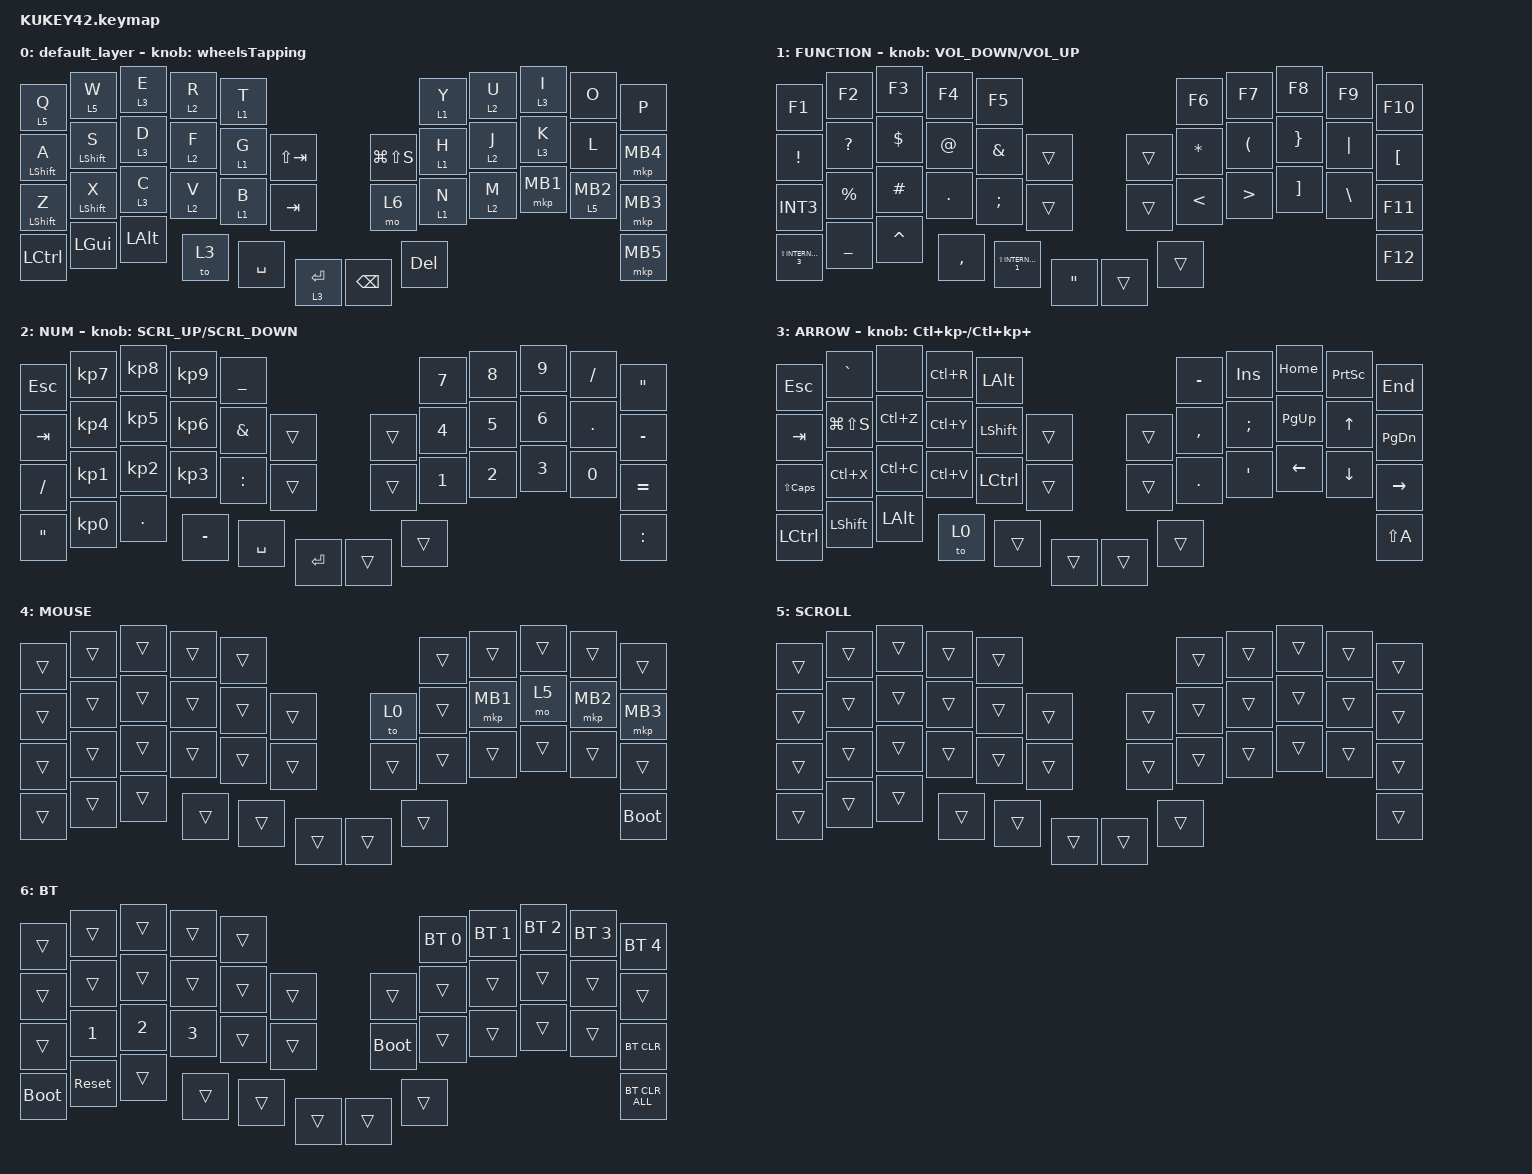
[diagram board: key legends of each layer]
#define ZMK_POINTING_DEFAULT_SCRL_VAL 80

#include <behaviors.dtsi>
#include <dt-bindings/zmk/bt.h>
#include <dt-bindings/zmk/keys.h>
#include <dt-bindings/zmk/pointing.h>

&mt {
    flavor = "balanced";
    quick-tap-ms = <0>;
    tapping-term-ms = <300>;
};

&trackball { scroll-layers = <2 3 5>; };

/ {
    combos { compatible = "zmk,combos"; };

    macros {
        to_layer_0: to_layer_0 {
            compatible = "zmk,behavior-macro-one-param";
            #binding-cells = <1>;
            bindings = <&to 0 &macro_param_1to1 &kp MACRO_PLACEHOLDER>;
            label = "TO_LAYER_0";
        };
    };

    behaviors {
        lt_to_layer_0: lt_to_layer_0 {
            compatible = "zmk,behavior-hold-tap";
            label = "LAYER_TAP_TO_0";
            bindings = <&mo>, <&to_layer_0>;

            #binding-cells = <2>;
            tapping-term-ms = <200>;
        };

        tapdance_kana: tapdance_kana {
            compatible = "zmk,behavior-tap-dance";
            label = "TAPDANCE_KANA";
            #binding-cells = <0>;
            bindings = <&kp INT2>, <&kp LANGUAGE_2>, <&sl 1>;

            tapping-term-ms = <400>;
        };

        WheelScroll: WheelScroll {
            compatible = "zmk,behavior-sensor-rotate-var";
            label = "WHEELSCROLL";
            #sensor-binding-cells = <2>;
            bindings = <&msc>, <&msc>;

            tap-ms = <20>;
        };

        lm: lm {
            compatible = "zmk,behavior-hold-tap";
            label = "LM";
            #binding-cells = <2>;
            bindings = <&mo>, <&mkp>;

            tapping-term-ms = <200>;
        };

        wheelsTapping: wheelsTapping {
            compatible = "zmk,behavior-sensor-rotate";
            label = "WHEELSTAPPING";
            #sensor-binding-cells = <0>;
            bindings = <&kp TAB>, <&kp LS(TAB)>;
        };
    };

    keymap {
        compatible = "zmk,keymap";

        default_layer {
            bindings = <
&lt 5 Q           &lt 5 W           &lt 3 E       &lt 2 R  &lt 1 T                                    &lt 1 Y     &lt 2 U  &lt 3 I   &kp O      &kp P
&mt LEFT_SHIFT A  &mt LEFT_SHIFT S  &lt 3 D       &lt 2 F  &lt 1 G    &kp LS(TAB)      &kp LG(LS(S))  &lt 1 H     &lt 2 J  &lt 3 K   &kp L      &mkp MB4
&mt LEFT_SHIFT Z  &mt LEFT_SHIFT X  &lt 3 C       &lt 2 V  &lt 1 B    &kp TAB          &mo 6          &lt 1 N     &lt 2 M  &mkp MB1  &lm 5 MB2  &mkp MB3
&kp LCTRL         &kp LEFT_GUI      &kp LEFT_ALT  &to 3    &kp SPACE  &lt 3 ENTER      &kp BACKSPACE  &kp DELETE                                &mkp MB5
            >;

            sensor-bindings = <&wheelsTapping>;
        };

        FUNCTION {
            bindings = <
&kp F1                   &kp F2        &kp F3      &kp F4       &kp F5                                                  &kp F6         &kp F7                &kp F8             &kp F9         &kp F10
&kp EXCLAMATION          &kp QUESTION  &kp DOLLAR  &kp AT_SIGN  &kp AMPERSAND            &trans                 &trans  &kp ASTERISK   &kp LEFT_PARENTHESIS  &kp RIGHT_BRACE    &kp PIPE       &kp LEFT_BRACKET
&kp INT3                 &kp PERCENT   &kp HASH    &kp DOT      &kp SEMICOLON            &trans                 &trans  &kp LESS_THAN  &kp GREATER_THAN      &kp RIGHT_BRACKET  &kp BACKSLASH  &kp F11
&kp LS(INTERNATIONAL_3)  &kp UNDER     &kp CARET   &kp COMMA    &kp LS(INTERNATIONAL_1)  &kp DOUBLE_QUOTES      &trans  &trans                                                                 &kp F12
            >;

            sensor-bindings = <&inc_dec_kp C_VOLUME_DOWN C_VOLUME_UP>;
        };

        NUM {
            bindings = <
&kp ESCAPE         &kp KP_NUMBER_7  &kp KP_NUMBER_8  &kp KP_NUMBER_9  &kp UNDER                             &kp NUMBER_7  &kp NUMBER_8  &kp NUMBER_9  &kp SLASH     &kp DOUBLE_QUOTES
&kp TAB            &kp KP_NUMBER_4  &kp KP_NUMBER_5  &kp KP_NUMBER_6  &kp AMPERSAND  &trans         &trans  &kp NUMBER_4  &kp NUMBER_5  &kp NUMBER_6  &kp PERIOD    &kp MINUS
&kp SLASH          &kp KP_N1        &kp KP_N2        &kp KP_NUMBER_3  &kp COLON      &trans         &trans  &kp NUMBER_1  &kp NUMBER_2  &kp NUMBER_3  &kp NUMBER_0  &kp EQUAL
&kp DOUBLE_QUOTES  &kp KP_NUMBER_0  &kp DOT          &kp MINUS        &kp SPACE      &kp ENTER      &trans  &trans                                                  &kp COLON
            >;

            sensor-bindings = <&WheelScroll SCRL_UP SCRL_DOWN>;
        };

        ARROW {
            bindings = <
&kp ESC           &kp GRAVE       &none         &kp LC(R)  &kp LEFT_ALT                          &kp MINUS   &kp INS           &kp HOME        &kp PRINTSCREEN  &kp END
&kp TAB           &kp LG(LS(S))   &kp LC(Z)     &kp LC(Y)  &kp LEFT_SHIFT    &trans      &trans  &kp COMMA   &kp SEMI          &kp PAGE_UP     &kp UP_ARROW     &kp PAGE_DOWN
&kp LS(CAPSLOCK)  &kp LC(X)       &kp LC(C)     &kp LC(V)  &kp LEFT_CONTROL  &trans      &trans  &kp PERIOD  &kp SINGLE_QUOTE  &kp LEFT_ARROW  &kp DOWN_ARROW   &kp RIGHT_ARROW
&kp LEFT_CONTROL  &kp LEFT_SHIFT  &kp LEFT_ALT  &to 0      &trans            &trans      &trans  &trans                                                         &kp LS(A)
            >;

            sensor-bindings = <&inc_dec_kp LC(KP_MINUS) LC(KP_PLUS)>;
        };

        MOUSE {
            bindings = <
&trans  &trans  &trans  &trans  &trans                      &trans  &trans    &trans  &trans    &trans
&trans  &trans  &trans  &trans  &trans  &trans      &to 0   &trans  &mkp MB1  &mo 5   &mkp MB2  &mkp MB3
&trans  &trans  &trans  &trans  &trans  &trans      &trans  &trans  &trans    &trans  &trans    &trans
&trans  &trans  &trans  &trans  &trans  &trans      &trans  &trans                              &bootloader
            >;
        };

        SCROLL {
            bindings = <
&trans  &trans  &trans  &trans  &trans                      &trans  &trans  &trans  &trans  &trans
&trans  &trans  &trans  &trans  &trans  &trans      &trans  &trans  &trans  &trans  &trans  &trans
&trans  &trans  &trans  &trans  &trans  &trans      &trans  &trans  &trans  &trans  &trans  &trans
&trans  &trans  &trans  &trans  &trans  &trans      &trans  &trans                          &trans
            >;
        };

        BT {
            bindings = <
&trans       &trans        &trans        &trans        &trans                           &bt BT_SEL 0  &bt BT_SEL 1  &bt BT_SEL 2  &bt BT_SEL 3  &bt BT_SEL 4
&trans       &trans        &trans        &trans        &trans  &trans      &trans       &trans        &trans        &trans        &trans        &trans
&trans       &kp NUMBER_1  &kp NUMBER_2  &kp NUMBER_3  &trans  &trans      &bootloader  &trans        &trans        &trans        &trans        &bt BT_CLR
&bootloader  &sys_reset    &trans        &trans        &trans  &trans      &trans       &trans                                                  &bt BT_CLR_ALL
            >;
        };
    };
};
